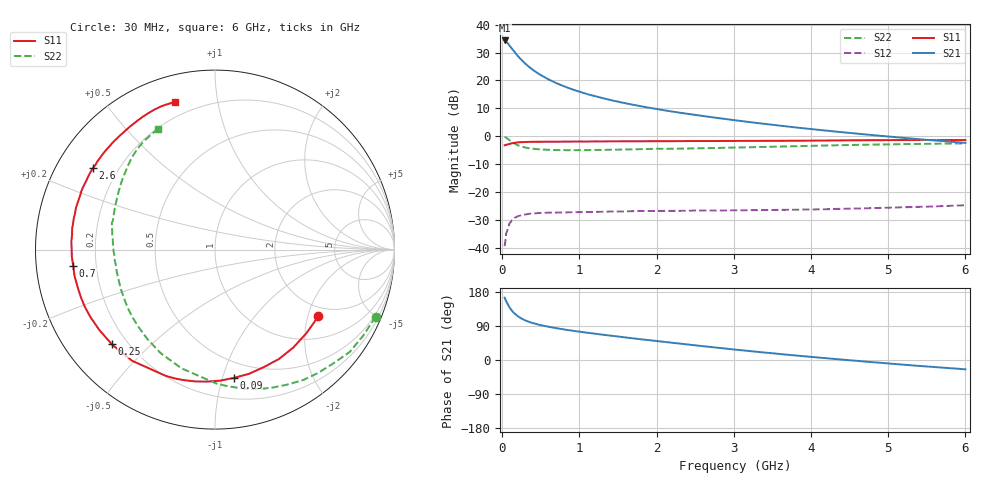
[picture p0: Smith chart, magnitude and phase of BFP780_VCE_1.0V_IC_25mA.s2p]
! Infineon Technologies  Discrete & RF Semiconductors
! BFP780
! VCE =  1.0 V,  IC =  25 mA
! Common Emitter S-Parameters:  Jul 2015
# GHz  S  MA  R  50
!  f  S11  S21  S12  S22
! GHz  MAG  ANG  MAG  ANG  MAG  ANG  MAG  ANG
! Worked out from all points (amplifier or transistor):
!   75 points, 30 MHz to 6 GHz, reference 50 ohm
!   highest |S21| = 34.4 dB at 30 MHz (marker M1)
!   |S21| within 3 dB of that: start of sweep to 126.4 MHz
!   unconditionally stable (mu >= 1): 2.278 GHz to end of sweep
!   at 150 MHz: K = 0.09, MSG = 30.0 dB, |S12| = -29.5 dB
!   at 2.3 GHz: K = 1.01, MAG = 17.0 dB, |S12| = -26.8 dB
!   at 6 GHz: K = 1.70, MAG = 6.3 dB, |S12| = -24.8 dB
!   S11 on the Smith chart (normalised r, x): 30 MHz: 1.67, -2.34; 90 MHz: 0.36, -1.09; 250 MHz: 0.14, -0.38; 700 MHz: 0.11, -0.06; 2.6 GHz: 0.11, +0.30; 6 GHz: 0.13, +0.76
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0.03  0.6858 -32.8  52.18 164.5  0.0106 79.7  0.9702 -22.7
0.05  0.6986 -51.4  49.68 155.2  0.0181 69.0  0.9427 -37.2
0.06  0.7061 -59.7  48.19 151.2  0.0191 65.2  0.9153 -43.7
0.07  0.709 -67.6  46.54 147.2  0.0215 57.3  0.8955 -50.2
0.09  0.7225 -81.7  42.91 140.1  0.0266 51.2  0.8526 -62.0
0.12  0.7427 -98.5  37.88 131.3  0.0304 43.7  0.7968 -77.0
0.15  0.7553 -111.3  33.54 124.4  0.0336 38.2  0.7462 -89.4
0.2  0.7727 -126.7  27.62 115.7  0.0364 30.7  0.6877 -105.7
0.25  0.7802 -137.4  23.25 109.3  0.0383 26.5  0.651 -117.9
0.3  0.7851 -145.5  19.91 104.3  0.0393 22.3  0.6236 -127.5
0.4  0.7923 -156.4  15.35 97.2  0.0409 17.4  0.5941 -141.0
0.5  0.7931 -163.8  12.43 91.9  0.0418 14.4  0.5772 -150.3
0.7  0.7955 -173.6  8.95 83.9  0.0424 11.0  0.5626 -162.6
0.9  0.7988 179.6  6.97 77.6  0.0431 9.1  0.5589 -170.7
1.1  0.8005 174.1  5.692 72.0  0.0435 8.3  0.5617 -176.8
1.5  0.8055 165.5  4.151 62.0  0.0444 6.4  0.5721 174.3
2.1  0.813 154.5  2.913 47.8  0.0456 4.7  0.5911 164.2
2.6  0.8173 146.2  2.3 36.5  0.0461 3.9  0.6073 156.2
3.1  0.8217 138.5  1.865 25.8  0.0466 3.1  0.6279 148.6
4.1  0.8333 124.5  1.298 6.4  0.0486 2.6  0.6739 135.9
5.1  0.8503 113.3  0.959 -10.8  0.0525 2.1  0.7159 125.0
6  0.8519 105.3  0.757 -24.6  0.0576 0.4  0.7425 115.4
